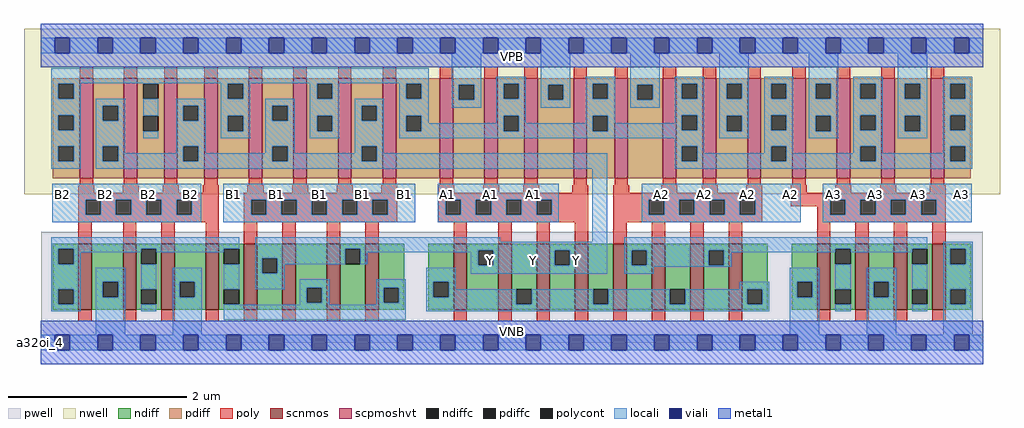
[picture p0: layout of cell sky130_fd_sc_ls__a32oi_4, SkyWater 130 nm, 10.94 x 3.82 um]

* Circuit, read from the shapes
.subckt sky130_fd_sc_ls__a32oi_4 A1 A2 A3 B1 B2 VGND VNB VPB VPWR Y
XM1 VGND B2 n1 VNB sky130_fd_pr__nfet_01v8 w=0.74 l=0.15 m=4
XM2 Y B1 n1 VNB sky130_fd_pr__nfet_01v8 w=0.74 l=0.15 m=4
XM3 Y A1 n2 VNB sky130_fd_pr__nfet_01v8 w=0.74 l=0.15 m=4
XM4 n3 A2 n2 VNB sky130_fd_pr__nfet_01v8 w=0.74 l=0.15 m=4
XM5 n3 A3 VGND VNB sky130_fd_pr__nfet_01v8 w=0.74 l=0.15 m=4
XM6 Y B2 n4 VPB sky130_fd_pr__pfet_01v8_hvt w=1.12 l=0.15 m=4
XM7 Y B1 n4 VPB sky130_fd_pr__pfet_01v8_hvt w=1.12 l=0.15 m=4
XM8 VPWR A1 n4 VPB sky130_fd_pr__pfet_01v8_hvt w=1.12 l=0.15 m=4
XM9 VPWR A2 n4 VPB sky130_fd_pr__pfet_01v8_hvt w=1.12 l=0.15 m=4
XM10 VPWR A3 n4 VPB sky130_fd_pr__pfet_01v8_hvt w=1.12 l=0.15 m=4
.ends

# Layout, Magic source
magic
tech sky130A
magscale 1 2
<< nwell >>
rect -38 332 2150 704
<< pwell >>
rect 1 49 2111 248
rect 0 0 2112 49
<< scnmos >>
rect 84 74 114 222
rect 184 74 214 222
rect 270 74 300 222
rect 369 74 399 222
rect 455 74 485 222
rect 541 74 571 222
rect 641 74 671 222
rect 727 74 757 222
rect 925 74 955 222
rect 1025 74 1055 222
rect 1111 74 1141 222
rect 1197 74 1227 222
rect 1283 74 1313 222
rect 1369 74 1399 222
rect 1456 74 1486 222
rect 1542 74 1572 222
rect 1740 74 1770 222
rect 1826 74 1856 222
rect 1912 74 1942 222
rect 1998 74 2028 222
<< scpmoshvt >>
rect 87 368 117 592
rect 186 368 216 592
rect 276 368 306 592
rect 366 368 396 592
rect 466 368 496 592
rect 566 368 596 592
rect 666 368 696 592
rect 766 368 796 592
rect 894 368 924 592
rect 994 368 1024 592
rect 1084 368 1114 592
rect 1194 368 1224 592
rect 1286 368 1316 592
rect 1394 368 1424 592
rect 1484 368 1514 592
rect 1584 368 1614 592
rect 1684 368 1714 592
rect 1784 368 1814 592
rect 1884 368 1914 592
rect 1995 368 2025 592
<< ndiff >>
rect 27 210 84 222
rect 27 176 39 210
rect 73 176 84 210
rect 27 120 84 176
rect 27 86 39 120
rect 73 86 84 120
rect 27 74 84 86
rect 114 136 184 222
rect 114 102 139 136
rect 173 102 184 136
rect 114 74 184 102
rect 214 210 270 222
rect 214 176 225 210
rect 259 176 270 210
rect 214 120 270 176
rect 214 86 225 120
rect 259 86 270 120
rect 214 74 270 86
rect 300 136 369 222
rect 300 102 311 136
rect 345 102 369 136
rect 300 74 369 102
rect 399 210 455 222
rect 399 176 410 210
rect 444 176 455 210
rect 399 120 455 176
rect 399 86 410 120
rect 444 86 455 120
rect 399 74 455 86
rect 485 189 541 222
rect 485 155 496 189
rect 530 155 541 189
rect 485 74 541 155
rect 571 123 641 222
rect 571 89 596 123
rect 630 89 641 123
rect 571 74 641 89
rect 671 210 727 222
rect 671 176 682 210
rect 716 176 727 210
rect 671 74 727 176
rect 757 123 814 222
rect 757 89 768 123
rect 802 89 814 123
rect 757 74 814 89
rect 868 136 925 222
rect 868 102 880 136
rect 914 102 925 136
rect 868 74 925 102
rect 955 207 1025 222
rect 955 173 980 207
rect 1014 173 1025 207
rect 955 74 1025 173
rect 1055 120 1111 222
rect 1055 86 1066 120
rect 1100 86 1111 120
rect 1055 74 1111 86
rect 1141 207 1197 222
rect 1141 173 1152 207
rect 1186 173 1197 207
rect 1141 74 1197 173
rect 1227 120 1283 222
rect 1227 86 1238 120
rect 1272 86 1283 120
rect 1227 74 1283 86
rect 1313 207 1369 222
rect 1313 173 1324 207
rect 1358 173 1369 207
rect 1313 74 1369 173
rect 1399 120 1456 222
rect 1399 86 1410 120
rect 1444 86 1456 120
rect 1399 74 1456 86
rect 1486 207 1542 222
rect 1486 173 1497 207
rect 1531 173 1542 207
rect 1486 74 1542 173
rect 1572 120 1629 222
rect 1572 86 1583 120
rect 1617 86 1629 120
rect 1572 74 1629 86
rect 1683 136 1740 222
rect 1683 102 1695 136
rect 1729 102 1740 136
rect 1683 74 1740 102
rect 1770 210 1826 222
rect 1770 176 1781 210
rect 1815 176 1826 210
rect 1770 120 1826 176
rect 1770 86 1781 120
rect 1815 86 1826 120
rect 1770 74 1826 86
rect 1856 136 1912 222
rect 1856 102 1867 136
rect 1901 102 1912 136
rect 1856 74 1912 102
rect 1942 210 1998 222
rect 1942 176 1953 210
rect 1987 176 1998 210
rect 1942 120 1998 176
rect 1942 86 1953 120
rect 1987 86 1998 120
rect 1942 74 1998 86
rect 2028 210 2085 222
rect 2028 176 2039 210
rect 2073 176 2085 210
rect 2028 120 2085 176
rect 2028 86 2039 120
rect 2073 86 2085 120
rect 2028 74 2085 86
<< pdiff >>
rect 27 580 87 592
rect 27 546 39 580
rect 73 546 87 580
rect 27 510 87 546
rect 27 476 39 510
rect 73 476 87 510
rect 27 440 87 476
rect 27 406 39 440
rect 73 406 87 440
rect 27 368 87 406
rect 117 531 186 592
rect 117 497 139 531
rect 173 497 186 531
rect 117 440 186 497
rect 117 406 139 440
rect 173 406 186 440
rect 117 368 186 406
rect 216 580 276 592
rect 216 546 229 580
rect 263 546 276 580
rect 216 508 276 546
rect 216 474 229 508
rect 263 474 276 508
rect 216 368 276 474
rect 306 531 366 592
rect 306 497 319 531
rect 353 497 366 531
rect 306 440 366 497
rect 306 406 319 440
rect 353 406 366 440
rect 306 368 366 406
rect 396 580 466 592
rect 396 546 419 580
rect 453 546 466 580
rect 396 508 466 546
rect 396 474 419 508
rect 453 474 466 508
rect 396 368 466 474
rect 496 531 566 592
rect 496 497 519 531
rect 553 497 566 531
rect 496 440 566 497
rect 496 406 519 440
rect 553 406 566 440
rect 496 368 566 406
rect 596 580 666 592
rect 596 546 619 580
rect 653 546 666 580
rect 596 508 666 546
rect 596 474 619 508
rect 653 474 666 508
rect 596 368 666 474
rect 696 531 766 592
rect 696 497 719 531
rect 753 497 766 531
rect 696 440 766 497
rect 696 406 719 440
rect 753 406 766 440
rect 696 368 766 406
rect 796 580 894 592
rect 796 546 819 580
rect 853 546 894 580
rect 796 508 894 546
rect 796 474 819 508
rect 853 474 894 508
rect 796 368 894 474
rect 924 578 994 592
rect 924 544 937 578
rect 971 544 994 578
rect 924 368 994 544
rect 1024 580 1084 592
rect 1024 546 1037 580
rect 1071 546 1084 580
rect 1024 508 1084 546
rect 1024 474 1037 508
rect 1071 474 1084 508
rect 1024 368 1084 474
rect 1114 578 1194 592
rect 1114 544 1137 578
rect 1171 544 1194 578
rect 1114 368 1194 544
rect 1224 580 1286 592
rect 1224 546 1237 580
rect 1271 546 1286 580
rect 1224 508 1286 546
rect 1224 474 1237 508
rect 1271 474 1286 508
rect 1224 368 1286 474
rect 1316 578 1394 592
rect 1316 544 1337 578
rect 1371 544 1394 578
rect 1316 368 1394 544
rect 1424 580 1484 592
rect 1424 546 1437 580
rect 1471 546 1484 580
rect 1424 510 1484 546
rect 1424 476 1437 510
rect 1471 476 1484 510
rect 1424 440 1484 476
rect 1424 406 1437 440
rect 1471 406 1484 440
rect 1424 368 1484 406
rect 1514 580 1584 592
rect 1514 546 1537 580
rect 1571 546 1584 580
rect 1514 508 1584 546
rect 1514 474 1537 508
rect 1571 474 1584 508
rect 1514 368 1584 474
rect 1614 580 1684 592
rect 1614 546 1637 580
rect 1671 546 1684 580
rect 1614 510 1684 546
rect 1614 476 1637 510
rect 1671 476 1684 510
rect 1614 440 1684 476
rect 1614 406 1637 440
rect 1671 406 1684 440
rect 1614 368 1684 406
rect 1714 580 1784 592
rect 1714 546 1737 580
rect 1771 546 1784 580
rect 1714 508 1784 546
rect 1714 474 1737 508
rect 1771 474 1784 508
rect 1714 368 1784 474
rect 1814 580 1884 592
rect 1814 546 1837 580
rect 1871 546 1884 580
rect 1814 510 1884 546
rect 1814 476 1837 510
rect 1871 476 1884 510
rect 1814 440 1884 476
rect 1814 406 1837 440
rect 1871 406 1884 440
rect 1814 368 1884 406
rect 1914 580 1995 592
rect 1914 546 1937 580
rect 1971 546 1995 580
rect 1914 508 1995 546
rect 1914 474 1937 508
rect 1971 474 1995 508
rect 1914 368 1995 474
rect 2025 580 2084 592
rect 2025 546 2038 580
rect 2072 546 2084 580
rect 2025 510 2084 546
rect 2025 476 2038 510
rect 2072 476 2084 510
rect 2025 440 2084 476
rect 2025 406 2038 440
rect 2072 406 2084 440
rect 2025 368 2084 406
<< ndiffc >>
rect 39 176 73 210
rect 39 86 73 120
rect 139 102 173 136
rect 225 176 259 210
rect 225 86 259 120
rect 311 102 345 136
rect 410 176 444 210
rect 410 86 444 120
rect 496 155 530 189
rect 596 89 630 123
rect 682 176 716 210
rect 768 89 802 123
rect 880 102 914 136
rect 980 173 1014 207
rect 1066 86 1100 120
rect 1152 173 1186 207
rect 1238 86 1272 120
rect 1324 173 1358 207
rect 1410 86 1444 120
rect 1497 173 1531 207
rect 1583 86 1617 120
rect 1695 102 1729 136
rect 1781 176 1815 210
rect 1781 86 1815 120
rect 1867 102 1901 136
rect 1953 176 1987 210
rect 1953 86 1987 120
rect 2039 176 2073 210
rect 2039 86 2073 120
<< pdiffc >>
rect 39 546 73 580
rect 39 476 73 510
rect 39 406 73 440
rect 139 497 173 531
rect 139 406 173 440
rect 229 546 263 580
rect 229 474 263 508
rect 319 497 353 531
rect 319 406 353 440
rect 419 546 453 580
rect 419 474 453 508
rect 519 497 553 531
rect 519 406 553 440
rect 619 546 653 580
rect 619 474 653 508
rect 719 497 753 531
rect 719 406 753 440
rect 819 546 853 580
rect 819 474 853 508
rect 937 544 971 578
rect 1037 546 1071 580
rect 1037 474 1071 508
rect 1137 544 1171 578
rect 1237 546 1271 580
rect 1237 474 1271 508
rect 1337 544 1371 578
rect 1437 546 1471 580
rect 1437 476 1471 510
rect 1437 406 1471 440
rect 1537 546 1571 580
rect 1537 474 1571 508
rect 1637 546 1671 580
rect 1637 476 1671 510
rect 1637 406 1671 440
rect 1737 546 1771 580
rect 1737 474 1771 508
rect 1837 546 1871 580
rect 1837 476 1871 510
rect 1837 406 1871 440
rect 1937 546 1971 580
rect 1937 474 1971 508
rect 2038 546 2072 580
rect 2038 476 2072 510
rect 2038 406 2072 440
<< poly >>
rect 87 592 117 618
rect 186 592 216 618
rect 276 592 306 618
rect 366 592 396 618
rect 466 592 496 618
rect 566 592 596 618
rect 666 592 696 618
rect 766 592 796 618
rect 894 592 924 618
rect 994 592 1024 618
rect 1084 592 1114 618
rect 1194 592 1224 618
rect 1286 592 1316 618
rect 1394 592 1424 618
rect 1484 592 1514 618
rect 1584 592 1614 618
rect 1684 592 1714 618
rect 1784 592 1814 618
rect 1884 592 1914 618
rect 1995 592 2025 618
rect 87 353 117 368
rect 186 353 216 368
rect 276 353 306 368
rect 366 353 396 368
rect 466 353 496 368
rect 566 353 596 368
rect 666 353 696 368
rect 766 353 796 368
rect 894 353 924 368
rect 994 353 1024 368
rect 1084 353 1114 368
rect 1194 353 1224 368
rect 1286 353 1316 368
rect 1394 353 1424 368
rect 1484 353 1514 368
rect 1584 353 1614 368
rect 1684 353 1714 368
rect 1784 353 1814 368
rect 1884 353 1914 368
rect 1995 353 2025 368
rect 84 336 120 353
rect 183 336 219 353
rect 273 336 309 353
rect 363 336 399 353
rect 463 336 499 353
rect 563 336 599 353
rect 663 336 699 353
rect 763 336 799 353
rect 84 320 399 336
rect 84 286 100 320
rect 134 286 168 320
rect 202 286 236 320
rect 270 286 304 320
rect 338 286 399 320
rect 84 270 399 286
rect 84 222 114 270
rect 184 222 214 270
rect 270 222 300 270
rect 369 222 399 270
rect 455 320 799 336
rect 455 286 471 320
rect 505 286 539 320
rect 573 286 607 320
rect 641 286 675 320
rect 709 286 743 320
rect 777 286 799 320
rect 455 270 799 286
rect 891 336 927 353
rect 991 336 1027 353
rect 1081 336 1117 353
rect 1191 336 1227 353
rect 891 320 1227 336
rect 891 286 907 320
rect 941 286 975 320
rect 1009 286 1043 320
rect 1077 286 1111 320
rect 1145 286 1227 320
rect 891 270 1227 286
rect 455 222 485 270
rect 541 222 571 270
rect 641 222 671 270
rect 727 222 757 270
rect 925 222 955 270
rect 1025 222 1055 270
rect 1111 222 1141 270
rect 1197 222 1227 270
rect 1283 336 1319 353
rect 1391 336 1427 353
rect 1481 336 1517 353
rect 1581 336 1617 353
rect 1283 320 1617 336
rect 1283 286 1363 320
rect 1397 286 1431 320
rect 1465 286 1499 320
rect 1533 286 1567 320
rect 1601 286 1617 320
rect 1681 336 1717 353
rect 1781 336 1817 353
rect 1881 336 1917 353
rect 1992 336 2028 353
rect 1681 320 2028 336
rect 1681 306 1769 320
rect 1283 270 1617 286
rect 1740 286 1769 306
rect 1803 286 1837 320
rect 1871 286 1905 320
rect 1939 286 1973 320
rect 2007 286 2028 320
rect 1740 270 2028 286
rect 1283 222 1313 270
rect 1369 222 1399 270
rect 1456 222 1486 270
rect 1542 222 1572 270
rect 1740 222 1770 270
rect 1826 222 1856 270
rect 1912 222 1942 270
rect 1998 222 2028 270
rect 84 48 114 74
rect 184 48 214 74
rect 270 48 300 74
rect 369 48 399 74
rect 455 48 485 74
rect 541 48 571 74
rect 641 48 671 74
rect 727 48 757 74
rect 925 48 955 74
rect 1025 48 1055 74
rect 1111 48 1141 74
rect 1197 48 1227 74
rect 1283 48 1313 74
rect 1369 48 1399 74
rect 1456 48 1486 74
rect 1542 48 1572 74
rect 1740 48 1770 74
rect 1826 48 1856 74
rect 1912 48 1942 74
rect 1998 48 2028 74
<< polycont >>
rect 100 286 134 320
rect 168 286 202 320
rect 236 286 270 320
rect 304 286 338 320
rect 471 286 505 320
rect 539 286 573 320
rect 607 286 641 320
rect 675 286 709 320
rect 743 286 777 320
rect 907 286 941 320
rect 975 286 1009 320
rect 1043 286 1077 320
rect 1111 286 1145 320
rect 1363 286 1397 320
rect 1431 286 1465 320
rect 1499 286 1533 320
rect 1567 286 1601 320
rect 1769 286 1803 320
rect 1837 286 1871 320
rect 1905 286 1939 320
rect 1973 286 2007 320
<< locali >>
rect 0 649 31 683
rect 65 649 127 683
rect 161 649 223 683
rect 257 649 319 683
rect 353 649 415 683
rect 449 649 511 683
rect 545 649 607 683
rect 641 649 703 683
rect 737 649 799 683
rect 833 649 895 683
rect 929 649 991 683
rect 1025 649 1087 683
rect 1121 649 1183 683
rect 1217 649 1279 683
rect 1313 649 1375 683
rect 1409 649 1471 683
rect 1505 649 1567 683
rect 1601 649 1663 683
rect 1697 649 1759 683
rect 1793 649 1855 683
rect 1889 649 1951 683
rect 1985 649 2047 683
rect 2081 649 2112 683
rect 23 581 869 615
rect 23 580 89 581
rect 23 546 39 580
rect 73 546 89 580
rect 229 580 263 581
rect 23 510 89 546
rect 23 476 39 510
rect 73 476 89 510
rect 23 440 89 476
rect 23 406 39 440
rect 73 406 89 440
rect 23 390 89 406
rect 123 531 189 547
rect 123 497 139 531
rect 173 497 189 531
rect 123 440 189 497
rect 403 580 469 581
rect 229 508 263 546
rect 229 458 263 474
rect 303 531 369 547
rect 303 497 319 531
rect 353 497 369 531
rect 123 406 139 440
rect 173 424 189 440
rect 303 440 369 497
rect 403 546 419 580
rect 453 546 469 580
rect 603 580 669 581
rect 403 508 469 546
rect 403 474 419 508
rect 453 474 469 508
rect 403 458 469 474
rect 503 531 569 547
rect 503 497 519 531
rect 553 497 569 531
rect 303 424 319 440
rect 173 406 319 424
rect 353 424 369 440
rect 503 440 569 497
rect 603 546 619 580
rect 653 546 669 580
rect 803 580 869 581
rect 603 508 669 546
rect 603 474 619 508
rect 653 474 669 508
rect 603 458 669 474
rect 703 531 769 547
rect 703 497 719 531
rect 753 497 769 531
rect 503 424 519 440
rect 353 406 519 424
rect 553 424 569 440
rect 703 440 769 497
rect 803 546 819 580
rect 853 546 869 580
rect 803 508 869 546
rect 921 578 987 649
rect 921 544 937 578
rect 971 544 987 578
rect 921 526 987 544
rect 1021 580 1087 596
rect 1021 546 1037 580
rect 1071 546 1087 580
rect 803 474 819 508
rect 853 492 869 508
rect 1021 508 1087 546
rect 1121 578 1187 649
rect 1121 544 1137 578
rect 1171 544 1187 578
rect 1121 526 1187 544
rect 1221 580 1287 596
rect 1221 546 1237 580
rect 1271 546 1287 580
rect 1021 492 1037 508
rect 853 474 1037 492
rect 1071 492 1087 508
rect 1221 508 1287 546
rect 1321 578 1387 649
rect 1321 544 1337 578
rect 1371 544 1387 578
rect 1321 526 1387 544
rect 1421 580 1487 596
rect 1421 546 1437 580
rect 1471 546 1487 580
rect 1221 492 1237 508
rect 1071 474 1237 492
rect 1271 492 1287 508
rect 1421 510 1487 546
rect 1421 492 1437 510
rect 1271 476 1437 492
rect 1471 476 1487 510
rect 1271 474 1487 476
rect 803 458 1487 474
rect 1521 580 1587 649
rect 1521 546 1537 580
rect 1571 546 1587 580
rect 1521 508 1587 546
rect 1521 474 1537 508
rect 1571 474 1587 508
rect 1521 458 1587 474
rect 1621 580 1687 596
rect 1621 546 1637 580
rect 1671 546 1687 580
rect 1621 510 1687 546
rect 1621 476 1637 510
rect 1671 476 1687 510
rect 703 424 719 440
rect 553 406 719 424
rect 753 424 769 440
rect 1421 440 1487 458
rect 753 406 1270 424
rect 123 390 1270 406
rect 1421 406 1437 440
rect 1471 424 1487 440
rect 1621 440 1687 476
rect 1721 580 1787 649
rect 1721 546 1737 580
rect 1771 546 1787 580
rect 1721 508 1787 546
rect 1721 474 1737 508
rect 1771 474 1787 508
rect 1721 458 1787 474
rect 1821 580 1887 596
rect 1821 546 1837 580
rect 1871 546 1887 580
rect 1821 510 1887 546
rect 1821 476 1837 510
rect 1871 476 1887 510
rect 1621 424 1637 440
rect 1471 406 1637 424
rect 1671 424 1687 440
rect 1821 440 1887 476
rect 1921 580 1987 649
rect 1921 546 1937 580
rect 1971 546 1987 580
rect 1921 508 1987 546
rect 1921 474 1937 508
rect 1971 474 1987 508
rect 1921 458 1987 474
rect 2022 580 2088 596
rect 2022 546 2038 580
rect 2072 546 2088 580
rect 2022 510 2088 546
rect 2022 476 2038 510
rect 2072 476 2088 510
rect 1821 424 1837 440
rect 1671 406 1837 424
rect 1871 424 1887 440
rect 2022 440 2088 476
rect 2022 424 2038 440
rect 1871 406 2038 424
rect 2072 406 2088 440
rect 1421 390 2088 406
rect 25 320 359 356
rect 25 286 100 320
rect 134 286 168 320
rect 202 286 236 320
rect 270 286 304 320
rect 338 286 359 320
rect 25 270 359 286
rect 409 320 839 356
rect 409 286 471 320
rect 505 286 539 320
rect 573 286 607 320
rect 641 286 675 320
rect 709 286 743 320
rect 777 286 839 320
rect 409 270 839 286
rect 889 320 1161 356
rect 889 286 907 320
rect 941 286 975 320
rect 1009 286 1043 320
rect 1077 286 1111 320
rect 1145 286 1161 320
rect 889 270 1161 286
rect 23 210 444 236
rect 23 176 39 210
rect 73 202 225 210
rect 73 176 89 202
rect 23 120 89 176
rect 259 202 410 210
rect 23 86 39 120
rect 73 86 89 120
rect 23 70 89 86
rect 123 136 189 168
rect 123 102 139 136
rect 173 102 189 136
rect 123 17 189 102
rect 225 120 259 176
rect 225 70 259 86
rect 295 136 361 168
rect 295 102 311 136
rect 345 102 361 136
rect 295 17 361 102
rect 410 120 444 176
rect 480 226 1030 236
rect 1236 226 1270 390
rect 1347 320 1703 356
rect 1347 286 1363 320
rect 1397 286 1431 320
rect 1465 286 1499 320
rect 1533 286 1567 320
rect 1601 286 1703 320
rect 1347 270 1703 286
rect 1753 320 2087 356
rect 1753 286 1769 320
rect 1803 286 1837 320
rect 1871 286 1905 320
rect 1939 286 1973 320
rect 2007 286 2087 320
rect 1753 270 2087 286
rect 480 210 1270 226
rect 480 189 682 210
rect 480 155 496 189
rect 530 176 682 189
rect 716 207 1270 210
rect 716 202 980 207
rect 716 176 732 202
rect 530 155 546 176
rect 964 173 980 202
rect 1014 173 1152 207
rect 1186 173 1270 207
rect 480 119 546 155
rect 580 123 646 142
rect 410 85 444 86
rect 580 89 596 123
rect 630 89 646 123
rect 580 85 646 89
rect 752 123 818 142
rect 752 89 768 123
rect 802 89 818 123
rect 752 85 818 89
rect 410 51 818 85
rect 864 136 930 168
rect 964 154 1270 173
rect 1308 210 1987 236
rect 1308 207 1781 210
rect 1308 173 1324 207
rect 1358 173 1497 207
rect 1531 202 1781 207
rect 1531 173 1547 202
rect 1308 170 1547 173
rect 1815 202 1953 210
rect 1308 154 1374 170
rect 1679 136 1745 168
rect 864 102 880 136
rect 914 120 930 136
rect 1567 120 1633 136
rect 914 102 1066 120
rect 864 86 1066 102
rect 1100 86 1238 120
rect 1272 86 1410 120
rect 1444 86 1583 120
rect 1617 86 1633 120
rect 864 70 1633 86
rect 1679 102 1695 136
rect 1729 102 1745 136
rect 1679 17 1745 102
rect 1781 120 1815 176
rect 1781 70 1815 86
rect 1851 136 1917 168
rect 1851 102 1867 136
rect 1901 102 1917 136
rect 1851 17 1917 102
rect 1953 120 1987 176
rect 1953 70 1987 86
rect 2023 210 2089 226
rect 2023 176 2039 210
rect 2073 176 2089 210
rect 2023 120 2089 176
rect 2023 86 2039 120
rect 2073 86 2089 120
rect 2023 17 2089 86
rect 0 -17 31 17
rect 65 -17 127 17
rect 161 -17 223 17
rect 257 -17 319 17
rect 353 -17 415 17
rect 449 -17 511 17
rect 545 -17 607 17
rect 641 -17 703 17
rect 737 -17 799 17
rect 833 -17 895 17
rect 929 -17 991 17
rect 1025 -17 1087 17
rect 1121 -17 1183 17
rect 1217 -17 1279 17
rect 1313 -17 1375 17
rect 1409 -17 1471 17
rect 1505 -17 1567 17
rect 1601 -17 1663 17
rect 1697 -17 1759 17
rect 1793 -17 1855 17
rect 1889 -17 1951 17
rect 1985 -17 2047 17
rect 2081 -17 2112 17
<< viali >>
rect 31 649 65 683
rect 127 649 161 683
rect 223 649 257 683
rect 319 649 353 683
rect 415 649 449 683
rect 511 649 545 683
rect 607 649 641 683
rect 703 649 737 683
rect 799 649 833 683
rect 895 649 929 683
rect 991 649 1025 683
rect 1087 649 1121 683
rect 1183 649 1217 683
rect 1279 649 1313 683
rect 1375 649 1409 683
rect 1471 649 1505 683
rect 1567 649 1601 683
rect 1663 649 1697 683
rect 1759 649 1793 683
rect 1855 649 1889 683
rect 1951 649 1985 683
rect 2047 649 2081 683
rect 31 -17 65 17
rect 127 -17 161 17
rect 223 -17 257 17
rect 319 -17 353 17
rect 415 -17 449 17
rect 511 -17 545 17
rect 607 -17 641 17
rect 703 -17 737 17
rect 799 -17 833 17
rect 895 -17 929 17
rect 991 -17 1025 17
rect 1087 -17 1121 17
rect 1183 -17 1217 17
rect 1279 -17 1313 17
rect 1375 -17 1409 17
rect 1471 -17 1505 17
rect 1567 -17 1601 17
rect 1663 -17 1697 17
rect 1759 -17 1793 17
rect 1855 -17 1889 17
rect 1951 -17 1985 17
rect 2047 -17 2081 17
<< metal1 >>
rect 0 683 2112 715
rect 0 649 31 683
rect 65 649 127 683
rect 161 649 223 683
rect 257 649 319 683
rect 353 649 415 683
rect 449 649 511 683
rect 545 649 607 683
rect 641 649 703 683
rect 737 649 799 683
rect 833 649 895 683
rect 929 649 991 683
rect 1025 649 1087 683
rect 1121 649 1183 683
rect 1217 649 1279 683
rect 1313 649 1375 683
rect 1409 649 1471 683
rect 1505 649 1567 683
rect 1601 649 1663 683
rect 1697 649 1759 683
rect 1793 649 1855 683
rect 1889 649 1951 683
rect 1985 649 2047 683
rect 2081 649 2112 683
rect 0 617 2112 649
rect 0 17 2112 49
rect 0 -17 31 17
rect 65 -17 127 17
rect 161 -17 223 17
rect 257 -17 319 17
rect 353 -17 415 17
rect 449 -17 511 17
rect 545 -17 607 17
rect 641 -17 703 17
rect 737 -17 799 17
rect 833 -17 895 17
rect 929 -17 991 17
rect 1025 -17 1087 17
rect 1121 -17 1183 17
rect 1217 -17 1279 17
rect 1313 -17 1375 17
rect 1409 -17 1471 17
rect 1505 -17 1567 17
rect 1601 -17 1663 17
rect 1697 -17 1759 17
rect 1793 -17 1855 17
rect 1889 -17 1951 17
rect 1985 -17 2047 17
rect 2081 -17 2112 17
rect 0 -49 2112 -17
<< labels >>
rlabel comment s 0 0 0 0 4 a32oi_4
flabel pwell s 0 0 2112 49 0 FreeSans 200 0 0 0 VNB
port 7 nsew ground bidirectional
flabel nwell s 0 617 2112 666 0 FreeSans 200 0 0 0 VPB
port 8 nsew power bidirectional
flabel metal1 s 0 617 2112 666 0 FreeSans 340 0 0 0 VPWR
port 9 nsew power bidirectional abutment
flabel metal1 s 0 0 2112 49 0 FreeSans 340 0 0 0 VGND
port 6 nsew ground bidirectional abutment
flabel locali s 31 316 65 350 0 FreeSans 340 0 0 0 B2
port 5 nsew signal input
flabel locali s 127 316 161 350 0 FreeSans 340 0 0 0 B2
port 5 nsew signal input
flabel locali s 223 316 257 350 0 FreeSans 340 0 0 0 B2
port 5 nsew signal input
flabel locali s 319 316 353 350 0 FreeSans 340 0 0 0 B2
port 5 nsew signal input
flabel locali s 415 316 449 350 0 FreeSans 340 0 0 0 B1
port 4 nsew signal input
flabel locali s 511 316 545 350 0 FreeSans 340 0 0 0 B1
port 4 nsew signal input
flabel locali s 607 316 641 350 0 FreeSans 340 0 0 0 B1
port 4 nsew signal input
flabel locali s 703 316 737 350 0 FreeSans 340 0 0 0 B1
port 4 nsew signal input
flabel locali s 799 316 833 350 0 FreeSans 340 0 0 0 B1
port 4 nsew signal input
flabel locali s 1759 316 1793 350 0 FreeSans 340 0 0 0 A3
port 3 nsew signal input
flabel locali s 1855 316 1889 350 0 FreeSans 340 0 0 0 A3
port 3 nsew signal input
flabel locali s 1951 316 1985 350 0 FreeSans 340 0 0 0 A3
port 3 nsew signal input
flabel locali s 2047 316 2081 350 0 FreeSans 340 0 0 0 A3
port 3 nsew signal input
flabel locali s 1375 316 1409 350 0 FreeSans 340 0 0 0 A2
port 2 nsew signal input
flabel locali s 1471 316 1505 350 0 FreeSans 340 0 0 0 A2
port 2 nsew signal input
flabel locali s 1567 316 1601 350 0 FreeSans 340 0 0 0 A2
port 2 nsew signal input
flabel locali s 1663 316 1697 350 0 FreeSans 340 0 0 0 A2
port 2 nsew signal input
flabel locali s 895 316 929 350 0 FreeSans 340 0 0 0 A1
port 1 nsew signal input
flabel locali s 991 316 1025 350 0 FreeSans 340 0 0 0 A1
port 1 nsew signal input
flabel locali s 1087 316 1121 350 0 FreeSans 340 0 0 0 A1
port 1 nsew signal input
flabel locali s 991 168 1025 202 0 FreeSans 340 0 0 0 Y
port 10 nsew signal output
flabel locali s 1087 168 1121 202 0 FreeSans 340 0 0 0 Y
port 10 nsew signal output
flabel locali s 1183 168 1217 202 0 FreeSans 340 0 0 0 Y
port 10 nsew signal output
<< properties >>
string LEFsite unit
string LEFclass CORE
string FIXED_BBOX 0 0 2112 666
string GDS_FILE $PDKPATH/libs.ref/sky130_fd_sc_ls/gds/sky130_fd_sc_ls.gds
string LEFsymmetry X Y
string GDS_END 189860
string GDS_START 172644
<< end >>
